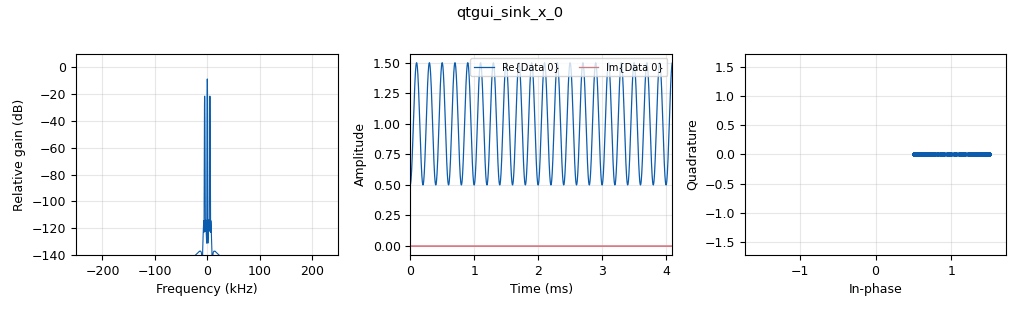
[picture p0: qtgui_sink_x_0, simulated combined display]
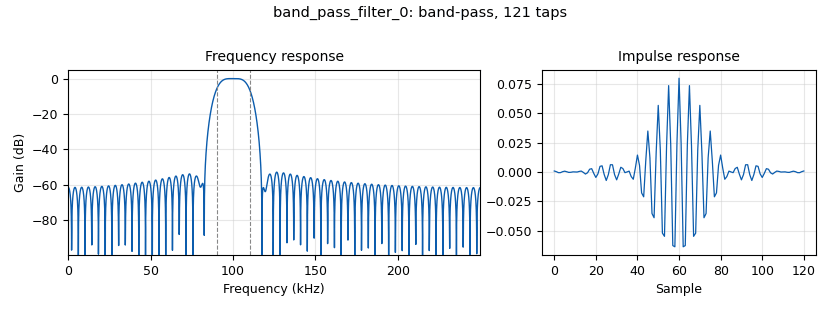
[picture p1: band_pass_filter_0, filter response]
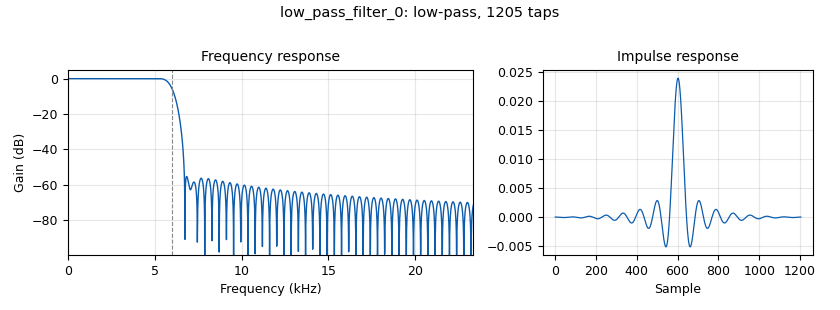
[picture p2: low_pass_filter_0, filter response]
options:
  parameters:
    author: mark
    generate_options: qt_gui
    id: ex2am
    output_language: python
    title: Amplitude Modulation using USRP
  states: {}

blocks:
- name: Rx_freq
  id: variable
  parameters:
    value: 820e6
  states: {}
- name: Tx_freq
  id: variable
  parameters:
    value: 801.1e6
  states: {}
- name: freq
  id: variable
  parameters:
    value: 5e3
  states: {}
- name: samp_rate
  id: variable
  parameters:
    value: 500e3
  states: {}
- name: analog_const_source_x_0
  id: analog_const_source_x
  parameters:
    const: '1'
    type: float
  states: {}
- name: analog_const_source_x_1
  id: analog_const_source_x
  parameters:
    const: '0'
    type: float
  states: {}
- name: analog_sig_source_x_0
  id: analog_sig_source_x
  parameters:
    amp: '1'
    freq: freq
    offset: '0'
    phase: '0'
    samp_rate: samp_rate
    type: float
    waveform: analog.GR_COS_WAVE
  states: {}
- name: band_pass_filter_0
  id: band_pass_filter
  parameters:
    decim: '1'
    gain: '1'
    high_cutoff_freq: 110e3
    low_cutoff_freq: 90e3
    samp_rate: samp_rate
    type: fir_filter_ccf
    width: 10e3
    win: window.WIN_HAMMING
  states: {}
- name: blocks_abs_xx_1
  id: blocks_abs_xx
  parameters:
    type: float
  states: {}
- name: blocks_add_xx_0
  id: blocks_add_xx
  parameters:
    type: float
  states: {}
- name: blocks_complex_to_real_0
  id: blocks_complex_to_real
  parameters: {}
  states: {}
- name: blocks_file_sink_1
  id: blocks_file_sink
  parameters:
    file: /home/mark/seed/13th/NewGenerationNetworks-Comunications/SDR_Tutorial/USRP_AM/flows/amrecord
    type: float
  states: {}
- name: blocks_float_to_complex_0
  id: blocks_float_to_complex
  parameters: {}
  states: {}
- name: blocks_multiply_const_vxx_0
  id: blocks_multiply_const_vxx
  parameters:
    const: '0.5'
    type: float
  states: {}
- name: low_pass_filter_0
  id: low_pass_filter
  parameters:
    cutoff_freq: 6e3
    decim: '1'
    gain: '1'
    samp_rate: samp_rate
    type: fir_filter_fff
    width: 1e3
    win: window.WIN_HAMMING
  states: {}
- name: qtgui_sink_x_0
  id: qtgui_sink_x
  parameters:
    bw: samp_rate
    fc: '0'
    fftsize: '2048'
    type: complex
  states: {}
- name: qtgui_sink_x_2
  id: qtgui_sink_x
  parameters:
    bw: samp_rate
    fc: '0'
    fftsize: '2048'
    type: float
  states: {}
- name: uhd_usrp_sink_0
  id: uhd_usrp_sink
  parameters:
    ant0: '"TX/RX"'
    center_freq0: Tx_freq
    gain0: '20'
    samp_rate: samp_rate
    sync: sync
    type: fc32
  states: {}
- name: uhd_usrp_source_0
  id: uhd_usrp_source
  parameters:
    ant0: '"RX2"'
    center_freq0: Rx_freq
    gain0: '0'
    samp_rate: samp_rate
    sync: sync
    type: fc32
  states: {}

connections:
- [analog_const_source_x_0, '0', blocks_add_xx_0, '1']
- [analog_const_source_x_1, '0', blocks_float_to_complex_0, '1']
- [analog_sig_source_x_0, '0', blocks_multiply_const_vxx_0, '0']
- [band_pass_filter_0, '0', blocks_complex_to_real_0, '0']
- [blocks_abs_xx_1, '0', low_pass_filter_0, '0']
- [blocks_add_xx_0, '0', blocks_float_to_complex_0, '0']
- [blocks_complex_to_real_0, '0', blocks_abs_xx_1, '0']
- [blocks_float_to_complex_0, '0', qtgui_sink_x_0, '0']
- [blocks_float_to_complex_0, '0', uhd_usrp_sink_0, '0']
- [blocks_multiply_const_vxx_0, '0', blocks_add_xx_0, '0']
- [low_pass_filter_0, '0', blocks_file_sink_1, '0']
- [low_pass_filter_0, '0', qtgui_sink_x_2, '0']
- [uhd_usrp_source_0, '0', band_pass_filter_0, '0']

metadata:
  file_format: 1
  grc_version: 3.10.7.0
